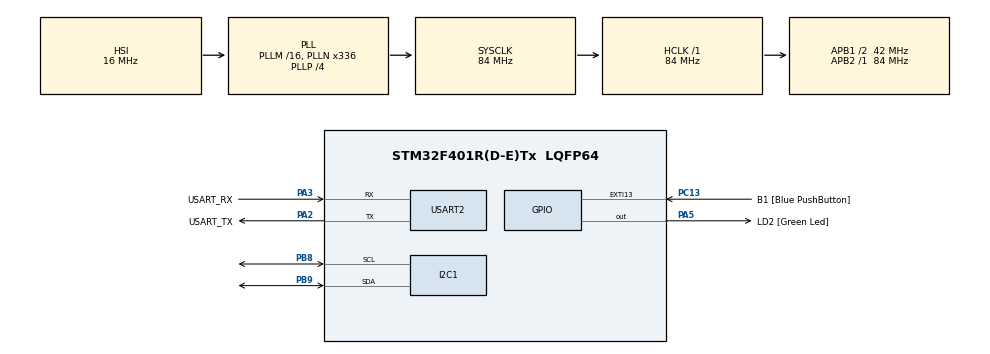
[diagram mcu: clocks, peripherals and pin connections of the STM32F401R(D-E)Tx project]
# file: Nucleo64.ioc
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Dma.I2C1_RX.0.Direction=DMA_PERIPH_TO_MEMORY
Dma.I2C1_RX.0.FIFOMode=DMA_FIFOMODE_DISABLE
Dma.I2C1_RX.0.Instance=DMA1_Stream0
Dma.I2C1_RX.0.MemDataAlignment=DMA_MDATAALIGN_BYTE
Dma.I2C1_RX.0.MemInc=DMA_MINC_ENABLE
Dma.I2C1_RX.0.Mode=DMA_CIRCULAR
Dma.I2C1_RX.0.PeriphDataAlignment=DMA_PDATAALIGN_BYTE
Dma.I2C1_RX.0.PeriphInc=DMA_PINC_DISABLE
Dma.I2C1_RX.0.Priority=DMA_PRIORITY_LOW
Dma.Request0=I2C1_RX
Dma.Request1=USART2_RX
Dma.USART2_RX.1.Direction=DMA_PERIPH_TO_MEMORY
Dma.USART2_RX.1.FIFOMode=DMA_FIFOMODE_DISABLE
Dma.USART2_RX.1.Instance=DMA1_Stream5
Dma.USART2_RX.1.MemDataAlignment=DMA_MDATAALIGN_BYTE
Dma.USART2_RX.1.MemInc=DMA_MINC_ENABLE
Dma.USART2_RX.1.Mode=DMA_CIRCULAR
Dma.USART2_RX.1.PeriphDataAlignment=DMA_PDATAALIGN_BYTE
Dma.USART2_RX.1.PeriphInc=DMA_PINC_DISABLE
Dma.USART2_RX.1.Priority=DMA_PRIORITY_LOW
FREERTOS.Tasks01=defaultTask,24,128,StartDefaultTask,Default,NULL,Dynamic,NULL,NULL
Mcu.Family=STM32F4
Mcu.Name=STM32F401R(D-E)Tx
Mcu.Package=LQFP64
NVIC.DMA1_Stream0_IRQn=true\:5\:0\:false\:false\:true\:true\:false\:true\:true
NVIC.DMA1_Stream5_IRQn=true\:5\:0\:false\:false\:true\:true\:false\:true\:true
NVIC.I2C1_EV_IRQn=true\:5\:0\:false\:false\:true\:true\:true\:true\:true
NVIC.PriorityGroup=NVIC_PRIORITYGROUP_4
NVIC.TIM1_UP_TIM10_IRQn=true\:15\:0\:false\:false\:true\:false\:false\:true\:true
NVIC.TimeBase=TIM1_UP_TIM10_IRQn
NVIC.TimeBaseIP=TIM1
PA13.GPIO_Label=TMS
PA13.Mode=Trace_Asynchronous_SW
PA13.Signal=SYS_JTMS-SWDIO
PA14.GPIO_Label=TCK
PA14.Mode=Trace_Asynchronous_SW
PA14.Signal=SYS_JTCK-SWCLK
PA2.GPIO_Label=USART_TX
PA2.GPIO_Mode=GPIO_MODE_AF_PP
PA2.GPIO_PuPd=GPIO_NOPULL
PA2.GPIO_Speed=GPIO_SPEED_FREQ_LOW
PA2.Mode=Asynchronous
PA2.Signal=USART2_TX
PA3.GPIO_Label=USART_RX
PA3.GPIO_Mode=GPIO_MODE_AF_PP
PA3.GPIO_PuPd=GPIO_NOPULL
PA3.GPIO_Speed=GPIO_SPEED_FREQ_LOW
PA3.Mode=Asynchronous
PA3.Signal=USART2_RX
PA5.GPIO_Label=LD2 [Green Led]
PA5.GPIO_Mode=GPIO_MODE_OUTPUT_PP
PA5.GPIO_PuPd=GPIO_NOPULL
PA5.GPIO_Speed=GPIO_SPEED_FREQ_LOW
PA5.Signal=GPIO_Output
PB3.GPIO_Label=SWO
PB3.Mode=Trace_Asynchronous_SW
PB3.Signal=SYS_JTDO-SWO
PB8.GPIO_Pu=GPIO_PULLUP
PB8.Mode=I2C
PB8.Signal=I2C1_SCL
PB9.GPIO_Pu=GPIO_PULLUP
PB9.Mode=I2C
PB9.Signal=I2C1_SDA
PC13-ANTI_TAMP.GPIO_Label=B1 [Blue PushButton]
PC13-ANTI_TAMP.GPIO_ModeDefaultEXTI=GPIO_MODE_IT_FALLING
PC13-ANTI_TAMP.GPIO_PuPd=GPIO_NOPULL
PC13-ANTI_TAMP.Signal=GPXTI13
PC14-OSC32_IN.Mode=LSE-External-Oscillator
PC14-OSC32_IN.Signal=RCC_OSC32_IN
PC15-OSC32_OUT.Mode=LSE-External-Oscillator
PC15-OSC32_OUT.Signal=RCC_OSC32_OUT
PH0\ -\ OSC_IN.Mode=HSE-External-Clock-Source
PH0\ -\ OSC_IN.Signal=RCC_OSC_IN
PH1\ -\ OSC_OUT.Mode=HSE-External-Clock-Source
PH1\ -\ OSC_OUT.Signal=RCC_OSC_OUT
ProjectManager.HeapSize=0x200
ProjectManager.StackSize=0x400
ProjectManager.TargetToolchain=STM32CubeIDE
RCC.48MHZClocksFreq_Value=48000000
RCC.AHBFreq_Value=84000000
RCC.APB1CLKDivider=RCC_HCLK_DIV2
RCC.APB1Freq_Value=42000000
RCC.APB1TimFreq_Value=84000000
RCC.APB2Freq_Value=84000000
RCC.APB2TimFreq_Value=84000000
RCC.CortexFreq_Value=84000000
RCC.HCLKFreq_Value=84000000
RCC.HSE_VALUE=8000000
RCC.HSI_VALUE=16000000
RCC.PLLN=336
RCC.PLLP=RCC_PLLP_DIV4
RCC.PLLQ=7
RCC.SYSCLKFreq_VALUE=84000000
RCC.SYSCLKSource=RCC_SYSCLKSOURCE_PLLCLK
RCC.VCOOutputFreq_Value=336000000
USART2.VirtualMode=VM_ASYNC
VP_FREERTOS_VS_CMSIS_V2.Mode=CMSIS_V2
VP_SYS_VS_tim1.Mode=TIM1
board=NUCLEO-F401RE

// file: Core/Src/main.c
/* USER CODE BEGIN Header */
/**
  ******************************************************************************
  * @file           : main.c
  * @brief          : Main program body
  ******************************************************************************
  * @attention
  *
  * Copyright (c) 2026 STMicroelectronics.
  * All rights reserved.
  *
  * This software is licensed under terms that can be found in the LICENSE file
  * in the root directory of this software component.
  * If no LICENSE file comes with this software, it is provided AS-IS.
  *
  ******************************************************************************
  */
/* USER CODE END Header */
#include "main.h"
#include "common.h"
#include "cmsis_os.h"
#include "dma.h"
#include "i2c.h"
#include "usart.h"
#include "gpio.h"
#include "bme680.h"
#include "queue.h"

/* USER CODE BEGIN PD */

// Create a queue to handle measurement - prevent read/write race conditions
QueueHandle_t SensorDataQueue = NULL;

/* USER CODE END PD */

void SystemClock_Config(void);
void MX_FREERTOS_Init(void);
/* USER CODE BEGIN PFP */

void vTaskMain(void * pvParameters);
void vTaskBME680(void *pvParameters);
void vTaskLEDAlive(void * pvParameters);

/* USER CODE END PFP */

int main(void)
{

  /* USER CODE BEGIN 1 */
	TaskHandle_t MainTaskHandle = NULL; // used to pass out the created tasks handle
	TaskHandle_t BME680TaskHandle = NULL;
	TaskHandle_t LEDAliveTaskHandle = NULL;

	// create the task for MainTask
	BaseType_t mainTaskResult = xTaskCreate(vTaskMain, "MainTask", MAIN_TASK_STACK_SIZE, NULL, MAIN_TASK_PRIORITY, &MainTaskHandle);
	BaseType_t BME680TaskResult = xTaskCreate(vTaskBME680, "BME680Task", BME680_TASK_STACK_SIZE, NULL, MAIN_TASK_PRIORITY, &BME680TaskHandle);
	BaseType_t LEDAliveTaskResult = xTaskCreate(vTaskLEDAlive, "LEDAliveTask", LED_TASK_STACK_SIZE, NULL, MAIN_TASK_PRIORITY, &LEDAliveTaskHandle);

  /* USER CODE END 1 */

  /* MCU Configuration--------------------------------------------------------*/

  /* Reset of all peripherals, Initializes the Flash interface and the Systick. */
  HAL_Init();

  /* Configure the system clock */
  SystemClock_Config();

  /* Initialize all configured peripherals */
  MX_GPIO_Init();
  MX_DMA_Init();
  MX_I2C1_Init();
  MX_USART2_UART_Init();

  /* Init scheduler */
  osKernelInitialize();  /* Call init function for freertos objects (in cmsis_os2.c) */
  MX_FREERTOS_Init();

	// Create a queue to handle measurement - prevent read/write race conditions
	SensorDataQueue = xQueueCreate(5, sizeof(struct bme68x_data));

	// null guard
	if(SensorDataQueue == NULL)
	{
		printf("SensorDataQueue: Error - out of memory\r\n");
		// handle allocation failure (out of memory)
		Error_Handler();
	}

  /* Start scheduler */
  osKernelStart();

  /* We should never get here as control is now taken by the scheduler */

  /* Infinite loop */
  while (1)
  {

    /* USER CODE BEGIN 3 */
  }

  // code should never reach this point

  if ( mainTaskResult == pdPASS )
  {
	  vTaskDelete(MainTaskHandle);
  }

  if ( BME680TaskResult == pdPASS )
  {
	  vTaskDelete(BME680TaskHandle);
  }

  if ( LEDAliveTaskResult == pdPASS )
  {
	  vTaskDelete(LEDAliveTaskHandle);
  }

  /* USER CODE END 3 */
}

void SystemClock_Config(void)
{
  RCC_OscInitTypeDef RCC_OscInitStruct = {0};
  RCC_ClkInitTypeDef RCC_ClkInitStruct = {0};

  /** Configure the main internal regulator output voltage
  */
  __HAL_RCC_PWR_CLK_ENABLE();
  __HAL_PWR_VOLTAGESCALING_CONFIG(PWR_REGULATOR_VOLTAGE_SCALE2);

  /** Initializes the RCC Oscillators according to the specified parameters
  * in the RCC_OscInitTypeDef structure.
  */
  RCC_OscInitStruct.OscillatorType = RCC_OSCILLATORTYPE_HSI;
  RCC_OscInitStruct.HSIState = RCC_HSI_ON;
  RCC_OscInitStruct.HSICalibrationValue = RCC_HSICALIBRATION_DEFAULT;
  RCC_OscInitStruct.PLL.PLLState = RCC_PLL_ON;
  RCC_OscInitStruct.PLL.PLLSource = RCC_PLLSOURCE_HSI;
  RCC_OscInitStruct.PLL.PLLM = 16;
  RCC_OscInitStruct.PLL.PLLN = 336;
  RCC_OscInitStruct.PLL.PLLP = RCC_PLLP_DIV4;
  RCC_OscInitStruct.PLL.PLLQ = 7;
  if (HAL_RCC_OscConfig(&RCC_OscInitStruct) != HAL_OK)
  {
    Error_Handler();
  }

  /** Initializes the CPU, AHB and APB buses clocks
  */
  RCC_ClkInitStruct.ClockType = RCC_CLOCKTYPE_HCLK|RCC_CLOCKTYPE_SYSCLK
                              |RCC_CLOCKTYPE_PCLK1|RCC_CLOCKTYPE_PCLK2;
  RCC_ClkInitStruct.SYSCLKSource = RCC_SYSCLKSOURCE_PLLCLK;
  RCC_ClkInitStruct.AHBCLKDivider = RCC_SYSCLK_DIV1;
  RCC_ClkInitStruct.APB1CLKDivider = RCC_HCLK_DIV2;
  RCC_ClkInitStruct.APB2CLKDivider = RCC_HCLK_DIV1;

  if (HAL_RCC_ClockConfig(&RCC_ClkInitStruct, FLASH_LATENCY_2) != HAL_OK)
  {
    Error_Handler();
  }
}

/* USER CODE BEGIN 4 */

/**
 * @brief Main task look - example taken from FreeRTOS example
 * @site: https://www.freertos.org/Documentation/02-Kernel/04-API-references/01-Task-creation/01-xTaskCreate
 */
void vTaskMain(void * pvParameters)
{
	struct bme68x_data received_measurements;

	//i2c_scan();

	//printf("BME680 ID: %u\r\n", bme680_get_id());

	//printf("Sample, TimeStamp(ms), Temperature(deg C), Pressure(Pa), Humidity(%%), Gas resistance(ohm), Status\r\n");

	// forever loop
	for ( ;; )
	{
		//printf("MainTask\r\n");

		// print the sensor readings every 5 seconds
		if (xQueueReceive(SensorDataQueue, &received_measurements, portMAX_DELAY) == pdPASS)
		{
			// data is safely copied - can now process the data
			printf("Temp: %.2f, RH: %.2f, Pressure (Pa): %.2f, GasR: %.2f, Status: 0x%u\r\n",
					received_measurements.temperature,
					received_measurements.humidity,
				   (received_measurements.pressure - 101325), // remove atmospheric pressure in Pascals
				   received_measurements.gas_resistance,
				   received_measurements.status);
		}

		vTaskDelay(5*DELAY_ONE_SECOND);
	}
}

void vTaskBME680(void *pvParameters)
{
	struct bme68x_data current_measurements;

	// initialize BME680
	bme680_init();

	// null guard
	if(SensorDataQueue == NULL)
	{
		// handle allocation failure (out of memory)
		Error_Handler();
	}

	//printf("BME680 ID: %u\r\n", bme680_get_id());

	//printf("Sample, TimeStamp(ms), Temperature(deg C), Pressure(Pa), Humidity(%%), Gas resistance(ohm), Status\r\n");

	// forever loop
	for ( ;; )
	{
		//printf("BME680 task schedule\r\n");
		// get sensor readings every 5 seconds

		// poll BME680 for sensor measurements
		bme680_poll_measurement();

		// get a copy of the current measurements
		bme680_get_measurements(&current_measurements);

		// Post data to the back of the queue - block for up to 10 ticks if full
		if( xQueueSend(SensorDataQueue, (void *)&current_measurements, (TickType_t)10) == pdPASS)
		{
			// data sent successfully
			//printf("xQueueSend: success\r\n");
		}
		else
		{
			// error handling: queue stayed full for 10 ticks
			printf("xQueueSend Error: queue stayed full for 10 ticks\r\n");
		}

		vTaskDelay(5*DELAY_ONE_SECOND);
	}
}

void vTaskLEDAlive(void * pvParameters)
{
	bool led_enabled = false;

	// forever loop
	for ( ;; )
	{
		// To test the loop turn ON/OFF the LED on Nucleo64

		if(led_enabled)
		{
			//printf("LED: Enabled\r\n");
			HAL_GPIO_WritePin(LD2_GPIO_Port, LD2_Pin, GPIO_PIN_SET);
			led_enabled = false;
		}
		else
		{
			//prinf("LED: Disabled\r\n");
			HAL_GPIO_WritePin(LD2_GPIO_Port, LD2_Pin, GPIO_PIN_RESET);
			led_enabled = true;
		}
		/* Task code goes here */
		vTaskDelay(DELAY_ONE_SECOND);
	}
}

/* USER CODE END 4 */

void HAL_TIM_PeriodElapsedCallback(TIM_HandleTypeDef *htim)
{
  if (htim->Instance == TIM1)
  {
    HAL_IncTick();
  }
}

void Error_Handler(void)
{
  __disable_irq();
  while (1)
  {
  }
}
